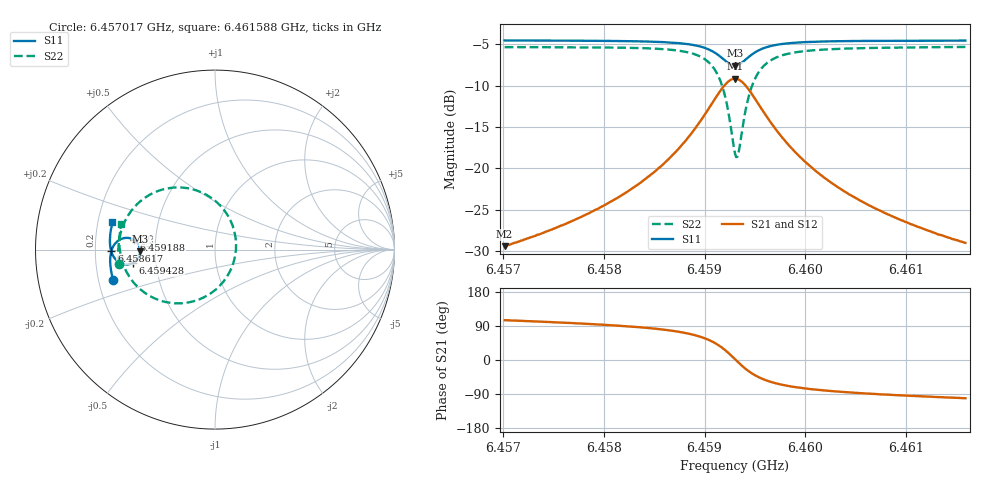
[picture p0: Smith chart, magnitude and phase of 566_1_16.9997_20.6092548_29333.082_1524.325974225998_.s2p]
#  HZ  S  RI  R  50.00
! Rohde & Schwarz Vector Network Analyzer
! Rohde-Schwarz,ZNB20-2Port,1311601062101988,3.16
! Created: UTC 3/20/2024, 11:17:24 PM
! freq[Hz]  re:S11  im:S11  re:S21  im:S21  re:S12  im:S12  re:S22  im:S22
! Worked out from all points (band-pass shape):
!   401 points, 6.457017 GHz to 6.461588 GHz, reference 50 ohm
!   highest |S21| = -9.17 dB at 6.459302 GHz (marker M1); lowest = -29.4 dB at 6.457017 GHz (marker M2)
!   |S21| within 3 dB of the highest: 6.459074 GHz to 6.459531 GHz (457.5 kHz wide, 0.00708 % of centre)
!   lowest |S11| = -7.6 dB at 6.459302 GHz (marker M3), VSWR 2.43, Z = 20.6 - j0.443 ohm
!   |S11| at or under -10 dB: nowhere
!   |S22| runs from -18.6 to -5.3 dB; largest |S21 - S12| = 0.014
!   S11 on the Smith chart (normalised r, x): 6.457017 GHz: 0.26, -0.14; 6.458617 GHz: 0.27, -0.01; 6.459188 GHz: 0.37, +0.05; 6.459428 GHz: 0.37, -0.07; 6.461588 GHz: 0.26, +0.12
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6.4570172e9  -0.5676 -0.1691  -0.00882 0.0327  -0.00707 0.0326  -0.5336 -0.0812
6.4577827e9  -0.5812 -0.102  -0.00536 0.0507  -0.00283 0.0502  -0.5383 0.00906
6.4581941e9  -0.5839 -0.0607  0.000456 0.0698  0.00366 0.0684  -0.5302 0.0742
6.4585483e9  -0.5798 -0.0184  0.0148 0.0994  0.0187 0.0966  -0.5037 0.1543
6.4586168e9  -0.5774 -0.00878  0.0202 0.1079  0.0242 0.1046  -0.4935 0.1744
6.4588111e9  -0.5647 0.0216  0.047 0.1388  0.0511 0.1338  -0.443 0.2437
6.4589596e9  -0.5418 0.0479  0.0928 0.1695  0.096 0.1626  -0.3586 0.3084
6.4590967e9  -0.4977 0.0653  0.1807 0.1856  0.1815 0.1781  -0.1979 0.3464
6.4591881e9  -0.453 0.0548  0.2708 0.1539  0.2711 0.148  -0.0303 0.2947
6.4592567e9  -0.4239 0.0224  0.3315 0.0814  0.3337 0.0761  0.0854 0.1637
6.4593024e9  -0.4169 -0.00889  0.3477 0.0128  0.3515 0.00583  0.1175 0.0355
6.4593138e9  -0.4174 -0.017  0.3473 -0.00493  0.3515 -0.0126  0.1169 0.00173
6.4593367e9  -0.4211 -0.0327  0.3418 -0.0398  0.3457 -0.0491  0.1053 -0.0645
6.4593824e9  -0.4367 -0.0588  0.3128 -0.1001  0.3151 -0.1121  0.0466 -0.1785
6.4594281e9  -0.4589 -0.0753  0.2703 -0.1412  0.2696 -0.1547  -0.0394 -0.2536
6.4595195e9  -0.5026 -0.0822  0.185 -0.1723  0.1786 -0.184  -0.21 -0.2995
6.459668e9  -0.5467 -0.0616  0.0964 -0.1581  0.0878 -0.1644  -0.3788 -0.2489
6.459828e9  -0.5683 -0.0338  0.0514 -0.1299  0.0436 -0.1327  -0.4596 -0.1761
6.4600679e9  -0.5811 0.00172  0.0221 -0.0979  0.0162 -0.0985  -0.5075 -0.093
6.460445e9  -0.5855 0.0464  0.0052 -0.0689  0.00121 -0.0684  -0.5299 -0.00699
6.4608335e9  -0.5834 0.0853  -0.00152 -0.0522  -0.00444 -0.0514  -0.5329 0.0549
6.4615876e9  -0.5713 0.1522  -0.00669 -0.0348  -0.00826 -0.0338  -0.5214 0.1444
